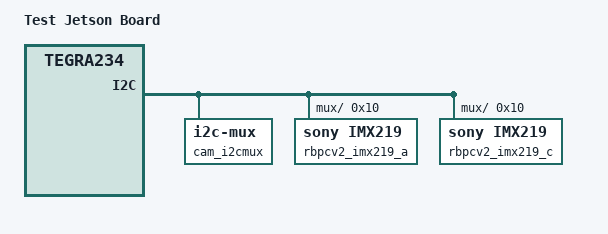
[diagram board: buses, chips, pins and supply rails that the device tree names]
// Base DTB — two IMX219 nodes, ACTIVE (no status property = "okay" per DT spec)
/dts-v1/;
/ {
	compatible = "nvidia,tegra234";
	model = "Test Jetson Board";

	cam_i2cmux {
		#address-cells = <1>;
		#size-cells = <0>;

		i2c@0 {
			#address-cells = <1>;
			#size-cells = <0>;

			rbpcv2_imx219_a@10 {
				compatible = "sony,imx219";
				reg = <0x10>;
			};
		};

		i2c@1 {
			#address-cells = <1>;
			#size-cells = <0>;

			rbpcv2_imx219_c@10 {
				compatible = "sony,imx219";
				reg = <0x10>;
			};
		};
	};
};
